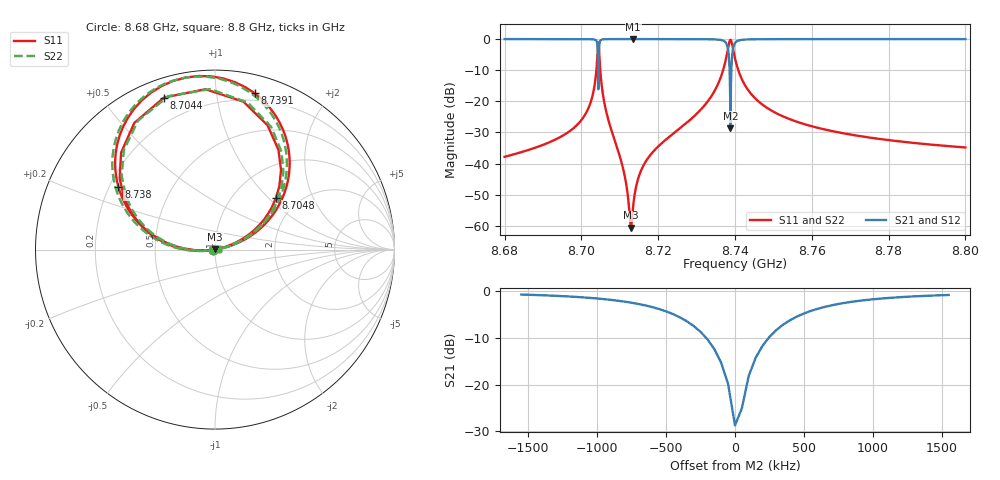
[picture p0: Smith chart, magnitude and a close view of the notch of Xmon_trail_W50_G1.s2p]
! Sonnet Data File
! From: emgraph Version : 16.52
! From Emgraph Data: 171117_Xmon_fullysym_trail
! Data File Written: 11/22/2017 17:45:02
!< HDATE 11/22/2017 16:26:38
!< MDATE 11/22/2017 16:27:08
!< PARAMS
!< Lj = 11.0
!< Gap = 1.0
!< Width = 50.0
!< END PARAMS
# GHZ S MA R 50.90000
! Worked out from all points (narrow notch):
!   2401 points, 8.68 GHz to 8.8 GHz, reference 50.9 ohm
!   highest |S21| = 0.00 dB at 8.7135 GHz (marker M1); lowest = -28.7 dB at 8.7388 GHz (marker M2)
!   notch at M2: 28.7 dB deep, 264 kHz wide at half that depth
!   lowest |S11| = -60.6 dB at 8.7129 GHz (marker M3), VSWR 1.00, Z = 50.9 + j0.0933 ohm
!   |S11| at or under -10 dB: start of sweep to 8.703901 GHz; 8.70491 GHz to 8.736901 GHz (31.99 MHz wide, 0.367 % of centre); 8.7409 GHz to end of sweep
!   |S22| runs from -61.9 to -0.2 dB; largest |S21 - S12| = 0
!   S11 on the Smith chart (normalised r, x): 8.68 GHz: 0.97, -0.00; 8.7044 GHz: 0.09, +0.72; 8.7048 GHz: 1.55, +1.11; 8.738 GHz: 0.24, +0.28; 8.7391 GHz: 0.14, +1.28; 8.8 GHz: 1.04, +0.01
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8.68  0.01282 -172.0  0.9999 -80.9  0.9999 -80.9  0.01282 -169.9
!< P1 F=8.68 Eeff=(6.44037968 -3.1351e-5) Z0=(50.2253428 1.04803e-4) R=0.0 C=0.0
!< P2 F=8.68 Eeff=(6.44037754 -3.1351e-5) Z0=(50.2257804 1.04803e-4) R=0.0 C=0.0
8.7  0.04998 -173.3  0.9986 -83.2  0.9986 -83.2  0.04997 -173.6
8.70265  0.1079 -176.6  0.9932 -86.6  0.9932 -86.6  0.1079 -177.6
8.7038  0.2719 172.9  0.9547 -96.2  0.9547 -96.2  0.2718 171.5
8.7044  0.8935 108.5  0.1708 -127.9  0.1708 -127.9  0.8933 106.9
8.70475  0.4451 40.2  0.8698 -54.0  0.8698 -54.0  0.445 38.4
8.7062  0.08076 16.2  0.9957 -75.8  0.9957 -75.8  0.08074 13.6
8.7109  0.008082 17.2  0.9999 -80.0  0.9999 -80.0  0.008063 4.0
8.7129  0.0009315 100.0  0.9999 -80.5  0.9999 -80.5  0.0008037 -81.1
8.7135  0.002146 164.1  0.9999 -80.6  0.9999 -80.6  0.002098 -148.2
8.71545  0.007487 -177.8  0.9999 -80.9  0.9999 -80.9  0.007475 -164.8
8.72  0.0188 -174.5  0.9998 -81.6  0.9998 -81.6  0.01879 -169.1
8.73315  0.1047 -178.1  0.9941 -86.7  0.9941 -86.7  0.1047 -175.7
8.73685  0.3086 169.7  0.9482 -98.7  0.9482 -98.7  0.3086 171.8
8.73805  0.6407 147.1  0.7523 -120.6  0.7523 -120.6  0.6407 149.0
8.7388  0.9725 99.7  0.03658 -121.3  0.03658 -121.3  0.9725 101.6
8.7391  0.8987 75.8  0.3843 -17.0  0.3843 -17.0  0.8987 77.7
8.74  0.4912 38.7  0.8635 -51.3  0.8635 -51.3  0.4912 40.5
8.74595  0.1017 14.4  0.9946 -75.0  0.9946 -75.0  0.1017 15.9
8.76  0.03971 10.9  0.9992 -78.7  0.9992 -78.7  0.03971 11.8
8.78  0.0238 10.1  0.9997 -79.8  0.9997 -79.8  0.0238 10.4
8.8  0.0181 9.8  0.9998 -80.3  0.9998 -80.3  0.0181 9.7
